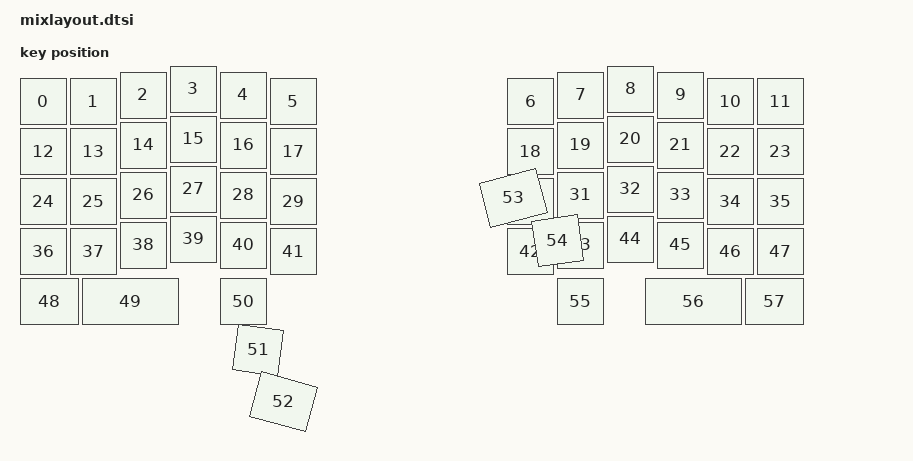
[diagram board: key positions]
#include <physical_layouts.dtsi>

/ {
    mix_layout: mix_layout {
        compatible = "zmk,physical-layout";
        display-name = "default";

        keys  //                     w   h    x    y     rot    rx    ry
            = <&key_physical_attrs 100 100    0   25       0     0     0>
            , <&key_physical_attrs 100 100  100   25       0     0     0>
            , <&key_physical_attrs 100 100  200   12       0     0     0>
            , <&key_physical_attrs 100 100  300    0       0     0     0>
            , <&key_physical_attrs 100 100  400   12       0     0     0>
            , <&key_physical_attrs 100 100  500   25       0     0     0>
            , <&key_physical_attrs 100 100  975   25       0     0     0>
            , <&key_physical_attrs 100 100 1075   12       0     0     0>
            , <&key_physical_attrs 100 100 1175    0       0     0     0>
            , <&key_physical_attrs 100 100 1275   12       0     0     0>
            , <&key_physical_attrs 100 100 1375   25       0     0     0>
            , <&key_physical_attrs 100 100 1475   25       0     0     0>
            , <&key_physical_attrs 100 100    0  125       0     0     0>
            , <&key_physical_attrs 100 100  100  125       0     0     0>
            , <&key_physical_attrs 100 100  200  112       0     0     0>
            , <&key_physical_attrs 100 100  300  100       0     0     0>
            , <&key_physical_attrs 100 100  400  112       0     0     0>
            , <&key_physical_attrs 100 100  500  125       0     0     0>
            , <&key_physical_attrs 100 100  975  125       0     0     0>
            , <&key_physical_attrs 100 100 1075  112       0     0     0>
            , <&key_physical_attrs 100 100 1175  100       0     0     0>
            , <&key_physical_attrs 100 100 1275  112       0     0     0>
            , <&key_physical_attrs 100 100 1375  125       0     0     0>
            , <&key_physical_attrs 100 100 1475  125       0     0     0>
            , <&key_physical_attrs 100 100    0  225       0     0     0>
            , <&key_physical_attrs 100 100  100  225       0     0     0>
            , <&key_physical_attrs 100 100  200  212       0     0     0>
            , <&key_physical_attrs 100 100  300  200       0     0     0>
            , <&key_physical_attrs 100 100  400  212       0     0     0>
            , <&key_physical_attrs 100 100  500  225       0     0     0>
            , <&key_physical_attrs 100 100  975  225       0     0     0>
            , <&key_physical_attrs 100 100 1075  212       0     0     0>
            , <&key_physical_attrs 100 100 1175  200       0     0     0>
            , <&key_physical_attrs 100 100 1275  212       0     0     0>
            , <&key_physical_attrs 100 100 1375  225       0     0     0>
            , <&key_physical_attrs 100 100 1475  225       0     0     0>
            , <&key_physical_attrs 100 100    0  325       0     0     0>
            , <&key_physical_attrs 100 100  100  325       0     0     0>
            , <&key_physical_attrs 100 100  200  312       0     0     0>
            , <&key_physical_attrs 100 100  300  300       0     0     0>
            , <&key_physical_attrs 100 100  400  312       0     0     0>
            , <&key_physical_attrs 100 100  500  325       0     0     0>
            , <&key_physical_attrs 100 100  975  325       0     0     0>
            , <&key_physical_attrs 100 100 1075  312       0     0     0>
            , <&key_physical_attrs 100 100 1175  300       0     0     0>
            , <&key_physical_attrs 100 100 1275  312       0     0     0>
            , <&key_physical_attrs 100 100 1375  325       0     0     0>
            , <&key_physical_attrs 100 100 1475  325       0     0     0>
            , <&key_physical_attrs 125 100    0  425       0     0     0>
            , <&key_physical_attrs 200 100  125  425       0     0     0>
            , <&key_physical_attrs 100 100  400  425       0     0     0>
            , <&key_physical_attrs 100 100  505  450     800     0     0>
            , <&key_physical_attrs 125 100  625  465    1500     0     0>
            , <&key_physical_attrs 125 100  825  465 (-1500)     0     0>
            , <&key_physical_attrs 100 100  970  450  (-800)     0     0>
            , <&key_physical_attrs 100 100 1075  425       0     0     0>
            , <&key_physical_attrs 200 100 1250  425       0     0     0>
            , <&key_physical_attrs 125 100 1450  425       0     0     0>
            ;
    };
};
